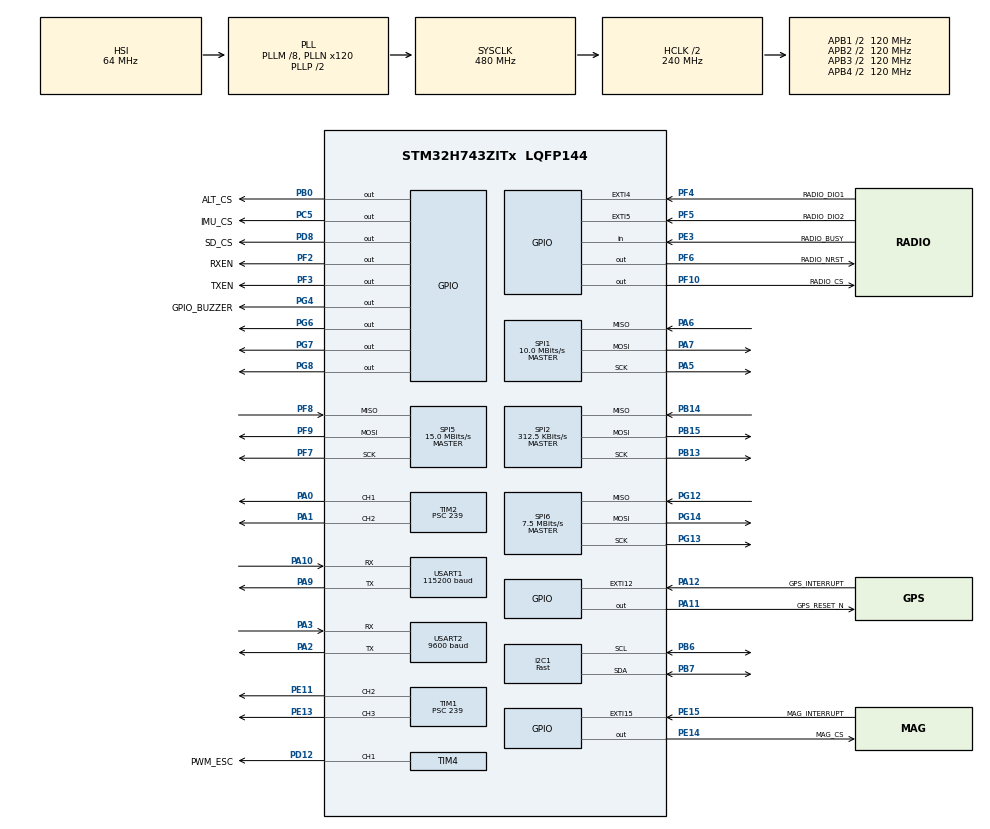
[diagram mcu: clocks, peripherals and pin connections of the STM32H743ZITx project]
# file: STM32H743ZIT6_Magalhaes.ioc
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Bdma.Request0=SPI6_TX
Bdma.Request1=SPI6_RX
Bdma.RequestsNb=2
Bdma.SPI6_RX.1.Direction=DMA_PERIPH_TO_MEMORY
Bdma.SPI6_RX.1.EventEnable=DISABLE
Bdma.SPI6_RX.1.Instance=BDMA_Channel1
Bdma.SPI6_RX.1.MemDataAlignment=DMA_MDATAALIGN_BYTE
Bdma.SPI6_RX.1.MemInc=DMA_MINC_ENABLE
Bdma.SPI6_RX.1.Mode=DMA_NORMAL
Bdma.SPI6_RX.1.PeriphDataAlignment=DMA_PDATAALIGN_BYTE
Bdma.SPI6_RX.1.PeriphInc=DMA_PINC_DISABLE
Bdma.SPI6_RX.1.Polarity=HAL_DMAMUX_REQ_GEN_RISING
Bdma.SPI6_RX.1.Priority=DMA_PRIORITY_LOW
Bdma.SPI6_RX.1.RequestNumber=1
Bdma.SPI6_RX.1.SignalID=NONE
Bdma.SPI6_RX.1.SyncEnable=DISABLE
Bdma.SPI6_RX.1.SyncPolarity=HAL_DMAMUX_SYNC_NO_EVENT
Bdma.SPI6_RX.1.SyncRequestNumber=1
Bdma.SPI6_RX.1.SyncSignalID=NONE
Bdma.SPI6_TX.0.Direction=DMA_MEMORY_TO_PERIPH
Bdma.SPI6_TX.0.EventEnable=DISABLE
Bdma.SPI6_TX.0.Instance=BDMA_Channel0
Bdma.SPI6_TX.0.MemDataAlignment=DMA_MDATAALIGN_BYTE
Bdma.SPI6_TX.0.MemInc=DMA_MINC_ENABLE
Bdma.SPI6_TX.0.Mode=DMA_NORMAL
Bdma.SPI6_TX.0.PeriphDataAlignment=DMA_PDATAALIGN_BYTE
Bdma.SPI6_TX.0.PeriphInc=DMA_PINC_DISABLE
Bdma.SPI6_TX.0.Polarity=HAL_DMAMUX_REQ_GEN_RISING
Bdma.SPI6_TX.0.Priority=DMA_PRIORITY_LOW
Bdma.SPI6_TX.0.RequestNumber=1
Bdma.SPI6_TX.0.SignalID=NONE
Bdma.SPI6_TX.0.SyncEnable=DISABLE
Bdma.SPI6_TX.0.SyncPolarity=HAL_DMAMUX_SYNC_NO_EVENT
Bdma.SPI6_TX.0.SyncRequestNumber=1
Bdma.SPI6_TX.0.SyncSignalID=NONE
CORTEX_M7.default_mode_Activation=1
Dma.I2C1_RX.10.Direction=DMA_PERIPH_TO_MEMORY
Dma.I2C1_RX.10.EventEnable=DISABLE
Dma.I2C1_RX.10.FIFOMode=DMA_FIFOMODE_DISABLE
Dma.I2C1_RX.10.Instance=DMA2_Stream0
Dma.I2C1_RX.10.MemDataAlignment=DMA_MDATAALIGN_BYTE
Dma.I2C1_RX.10.MemInc=DMA_MINC_ENABLE
Dma.I2C1_RX.10.Mode=DMA_NORMAL
Dma.I2C1_RX.10.PeriphDataAlignment=DMA_PDATAALIGN_BYTE
Dma.I2C1_RX.10.PeriphInc=DMA_PINC_DISABLE
Dma.I2C1_RX.10.Polarity=HAL_DMAMUX_REQ_GEN_RISING
Dma.I2C1_RX.10.Priority=DMA_PRIORITY_LOW
Dma.I2C1_RX.10.RequestNumber=1
Dma.I2C1_RX.10.SignalID=NONE
Dma.I2C1_RX.10.SyncEnable=DISABLE
Dma.I2C1_RX.10.SyncPolarity=HAL_DMAMUX_SYNC_NO_EVENT
Dma.I2C1_RX.10.SyncRequestNumber=1
Dma.I2C1_RX.10.SyncSignalID=NONE
Dma.I2C1_TX.11.Direction=DMA_MEMORY_TO_PERIPH
Dma.I2C1_TX.11.EventEnable=DISABLE
Dma.I2C1_TX.11.FIFOMode=DMA_FIFOMODE_DISABLE
Dma.I2C1_TX.11.Instance=DMA2_Stream1
Dma.I2C1_TX.11.MemDataAlignment=DMA_MDATAALIGN_BYTE
Dma.I2C1_TX.11.MemInc=DMA_MINC_ENABLE
Dma.I2C1_TX.11.Mode=DMA_NORMAL
Dma.I2C1_TX.11.PeriphDataAlignment=DMA_PDATAALIGN_BYTE
Dma.I2C1_TX.11.PeriphInc=DMA_PINC_DISABLE
Dma.I2C1_TX.11.Polarity=HAL_DMAMUX_REQ_GEN_RISING
Dma.I2C1_TX.11.Priority=DMA_PRIORITY_LOW
Dma.I2C1_TX.11.RequestNumber=1
Dma.I2C1_TX.11.SignalID=NONE
Dma.I2C1_TX.11.SyncEnable=DISABLE
Dma.I2C1_TX.11.SyncPolarity=HAL_DMAMUX_SYNC_NO_EVENT
Dma.I2C1_TX.11.SyncRequestNumber=1
Dma.I2C1_TX.11.SyncSignalID=NONE
Dma.Request0=SPI1_RX
Dma.Request1=SPI1_TX
Dma.Request10=I2C1_RX
Dma.Request11=I2C1_TX
Dma.Request2=SPI2_RX
Dma.Request3=SPI2_TX
Dma.Request4=USART2_RX
Dma.Request5=USART2_TX
Dma.Request6=SPI5_RX
Dma.Request7=SPI5_TX
Dma.Request8=USART1_RX
Dma.Request9=USART1_TX
Dma.SPI1_RX.0.Direction=DMA_PERIPH_TO_MEMORY
Dma.SPI1_RX.0.EventEnable=DISABLE
Dma.SPI1_RX.0.FIFOMode=DMA_FIFOMODE_DISABLE
Dma.SPI1_RX.0.Instance=DMA1_Stream0
Dma.SPI1_RX.0.MemDataAlignment=DMA_MDATAALIGN_BYTE
Dma.SPI1_RX.0.MemInc=DMA_MINC_ENABLE
Dma.SPI1_RX.0.Mode=DMA_NORMAL
Dma.SPI1_RX.0.PeriphDataAlignment=DMA_PDATAALIGN_BYTE
Dma.SPI1_RX.0.PeriphInc=DMA_PINC_DISABLE
Dma.SPI1_RX.0.Polarity=HAL_DMAMUX_REQ_GEN_RISING
Dma.SPI1_RX.0.Priority=DMA_PRIORITY_HIGH
Dma.SPI1_RX.0.RequestNumber=1
Dma.SPI1_RX.0.SignalID=NONE
Dma.SPI1_RX.0.SyncEnable=DISABLE
Dma.SPI1_RX.0.SyncPolarity=HAL_DMAMUX_SYNC_NO_EVENT
Dma.SPI1_RX.0.SyncRequestNumber=1
Dma.SPI1_RX.0.SyncSignalID=NONE
Dma.SPI1_TX.1.Direction=DMA_MEMORY_TO_PERIPH
Dma.SPI1_TX.1.EventEnable=DISABLE
Dma.SPI1_TX.1.FIFOMode=DMA_FIFOMODE_DISABLE
Dma.SPI1_TX.1.Instance=DMA1_Stream1
Dma.SPI1_TX.1.MemDataAlignment=DMA_MDATAALIGN_BYTE
Dma.SPI1_TX.1.MemInc=DMA_MINC_ENABLE
Dma.SPI1_TX.1.Mode=DMA_NORMAL
Dma.SPI1_TX.1.PeriphDataAlignment=DMA_PDATAALIGN_BYTE
Dma.SPI1_TX.1.PeriphInc=DMA_PINC_DISABLE
Dma.SPI1_TX.1.Polarity=HAL_DMAMUX_REQ_GEN_RISING
Dma.SPI1_TX.1.Priority=DMA_PRIORITY_HIGH
Dma.SPI1_TX.1.RequestNumber=1
Dma.SPI1_TX.1.SignalID=NONE
Dma.SPI1_TX.1.SyncEnable=DISABLE
Dma.SPI1_TX.1.SyncPolarity=HAL_DMAMUX_SYNC_NO_EVENT
Dma.SPI1_TX.1.SyncRequestNumber=1
Dma.SPI1_TX.1.SyncSignalID=NONE
Dma.SPI2_RX.2.Direction=DMA_PERIPH_TO_MEMORY
Dma.SPI2_RX.2.EventEnable=DISABLE
Dma.SPI2_RX.2.FIFOMode=DMA_FIFOMODE_DISABLE
Dma.SPI2_RX.2.Instance=DMA1_Stream2
Dma.SPI2_RX.2.MemDataAlignment=DMA_MDATAALIGN_BYTE
Dma.SPI2_RX.2.MemInc=DMA_MINC_ENABLE
Dma.SPI2_RX.2.Mode=DMA_NORMAL
Dma.SPI2_RX.2.PeriphDataAlignment=DMA_PDATAALIGN_BYTE
Dma.SPI2_RX.2.PeriphInc=DMA_PINC_DISABLE
Dma.SPI2_RX.2.Polarity=HAL_DMAMUX_REQ_GEN_RISING
Dma.SPI2_RX.2.Priority=DMA_PRIORITY_MEDIUM
Dma.SPI2_RX.2.RequestNumber=1
Dma.SPI2_RX.2.SignalID=NONE
Dma.SPI2_RX.2.SyncEnable=DISABLE
Dma.SPI2_RX.2.SyncPolarity=HAL_DMAMUX_SYNC_NO_EVENT
Dma.SPI2_RX.2.SyncRequestNumber=1
Dma.SPI2_RX.2.SyncSignalID=NONE
Dma.SPI2_TX.3.Direction=DMA_MEMORY_TO_PERIPH
Dma.SPI2_TX.3.EventEnable=DISABLE
Dma.SPI2_TX.3.FIFOMode=DMA_FIFOMODE_DISABLE
Dma.SPI2_TX.3.Instance=DMA1_Stream3
Dma.SPI2_TX.3.MemDataAlignment=DMA_MDATAALIGN_BYTE
Dma.SPI2_TX.3.MemInc=DMA_MINC_ENABLE
Dma.SPI2_TX.3.Mode=DMA_NORMAL
Dma.SPI2_TX.3.PeriphDataAlignment=DMA_PDATAALIGN_BYTE
Dma.SPI2_TX.3.PeriphInc=DMA_PINC_DISABLE
Dma.SPI2_TX.3.Polarity=HAL_DMAMUX_REQ_GEN_RISING
Dma.SPI2_TX.3.Priority=DMA_PRIORITY_MEDIUM
Dma.SPI2_TX.3.RequestNumber=1
Dma.SPI2_TX.3.SignalID=NONE
Dma.SPI2_TX.3.SyncEnable=DISABLE
Dma.SPI2_TX.3.SyncPolarity=HAL_DMAMUX_SYNC_NO_EVENT
Dma.SPI2_TX.3.SyncRequestNumber=1
Dma.SPI2_TX.3.SyncSignalID=NONE
Dma.SPI5_RX.6.Direction=DMA_PERIPH_TO_MEMORY
Dma.SPI5_RX.6.EventEnable=DISABLE
Dma.SPI5_RX.6.FIFOMode=DMA_FIFOMODE_DISABLE
Dma.SPI5_RX.6.Instance=DMA2_Stream2
Dma.SPI5_RX.6.MemDataAlignment=DMA_MDATAALIGN_BYTE
Dma.SPI5_RX.6.MemInc=DMA_MINC_ENABLE
Dma.SPI5_RX.6.Mode=DMA_NORMAL
Dma.SPI5_RX.6.PeriphDataAlignment=DMA_PDATAALIGN_BYTE
Dma.SPI5_RX.6.PeriphInc=DMA_PINC_DISABLE
Dma.SPI5_RX.6.Polarity=HAL_DMAMUX_REQ_GEN_RISING
Dma.SPI5_RX.6.Priority=DMA_PRIORITY_LOW
Dma.SPI5_RX.6.RequestNumber=1
Dma.SPI5_RX.6.SignalID=NONE
Dma.SPI5_RX.6.SyncEnable=DISABLE
Dma.SPI5_RX.6.SyncPolarity=HAL_DMAMUX_SYNC_NO_EVENT
Dma.SPI5_RX.6.SyncRequestNumber=1
Dma.SPI5_RX.6.SyncSignalID=NONE
Dma.SPI5_TX.7.Direction=DMA_MEMORY_TO_PERIPH
Dma.SPI5_TX.7.EventEnable=DISABLE
Dma.SPI5_TX.7.FIFOMode=DMA_FIFOMODE_DISABLE
Dma.SPI5_TX.7.Instance=DMA2_Stream3
Dma.SPI5_TX.7.MemDataAlignment=DMA_MDATAALIGN_BYTE
Dma.SPI5_TX.7.MemInc=DMA_MINC_ENABLE
Dma.SPI5_TX.7.Mode=DMA_NORMAL
Dma.SPI5_TX.7.PeriphDataAlignment=DMA_PDATAALIGN_BYTE
Dma.SPI5_TX.7.PeriphInc=DMA_PINC_DISABLE
Dma.SPI5_TX.7.Polarity=HAL_DMAMUX_REQ_GEN_RISING
Dma.SPI5_TX.7.Priority=DMA_PRIORITY_LOW
Dma.SPI5_TX.7.RequestNumber=1
Dma.SPI5_TX.7.SignalID=NONE
Dma.SPI5_TX.7.SyncEnable=DISABLE
Dma.SPI5_TX.7.SyncPolarity=HAL_DMAMUX_SYNC_NO_EVENT
Dma.SPI5_TX.7.SyncRequestNumber=1
Dma.SPI5_TX.7.SyncSignalID=NONE
Dma.USART1_RX.8.Direction=DMA_PERIPH_TO_MEMORY
Dma.USART1_RX.8.EventEnable=DISABLE
Dma.USART1_RX.8.FIFOMode=DMA_FIFOMODE_DISABLE
Dma.USART1_RX.8.Instance=DMA1_Stream4
Dma.USART1_RX.8.MemDataAlignment=DMA_MDATAALIGN_BYTE
Dma.USART1_RX.8.MemInc=DMA_MINC_ENABLE
Dma.USART1_RX.8.Mode=DMA_CIRCULAR
Dma.USART1_RX.8.PeriphDataAlignment=DMA_PDATAALIGN_BYTE
Dma.USART1_RX.8.PeriphInc=DMA_PINC_DISABLE
Dma.USART1_RX.8.Polarity=HAL_DMAMUX_REQ_GEN_RISING
Dma.USART1_RX.8.Priority=DMA_PRIORITY_LOW
Dma.USART1_RX.8.RequestNumber=1
Dma.USART1_RX.8.SignalID=NONE
Dma.USART1_RX.8.SyncEnable=DISABLE
Dma.USART1_RX.8.SyncPolarity=HAL_DMAMUX_SYNC_NO_EVENT
Dma.USART1_RX.8.SyncRequestNumber=1
Dma.USART1_RX.8.SyncSignalID=NONE
Dma.USART1_TX.9.Direction=DMA_MEMORY_TO_PERIPH
Dma.USART1_TX.9.EventEnable=DISABLE
Dma.USART1_TX.9.FIFOMode=DMA_FIFOMODE_DISABLE
Dma.USART1_TX.9.Instance=DMA1_Stream5
Dma.USART1_TX.9.MemDataAlignment=DMA_MDATAALIGN_BYTE
Dma.USART1_TX.9.MemInc=DMA_MINC_ENABLE
Dma.USART1_TX.9.Mode=DMA_NORMAL
Dma.USART1_TX.9.PeriphDataAlignment=DMA_PDATAALIGN_BYTE
Dma.USART1_TX.9.PeriphInc=DMA_PINC_DISABLE
Dma.USART1_TX.9.Polarity=HAL_DMAMUX_REQ_GEN_RISING
Dma.USART1_TX.9.Priority=DMA_PRIORITY_LOW
Dma.USART1_TX.9.RequestNumber=1
Dma.USART1_TX.9.SignalID=NONE
Dma.USART1_TX.9.SyncEnable=DISABLE
Dma.USART1_TX.9.SyncPolarity=HAL_DMAMUX_SYNC_NO_EVENT
Dma.USART1_TX.9.SyncRequestNumber=1
Dma.USART1_TX.9.SyncSignalID=NONE
Dma.USART2_RX.4.Direction=DMA_PERIPH_TO_MEMORY
Dma.USART2_RX.4.EventEnable=DISABLE
Dma.USART2_RX.4.FIFOMode=DMA_FIFOMODE_DISABLE
Dma.USART2_RX.4.Instance=DMA1_Stream6
Dma.USART2_RX.4.MemDataAlignment=DMA_MDATAALIGN_BYTE
Dma.USART2_RX.4.MemInc=DMA_MINC_ENABLE
Dma.USART2_RX.4.Mode=DMA_CIRCULAR
Dma.USART2_RX.4.PeriphDataAlignment=DMA_PDATAALIGN_BYTE
Dma.USART2_RX.4.PeriphInc=DMA_PINC_DISABLE
Dma.USART2_RX.4.Polarity=HAL_DMAMUX_REQ_GEN_RISING
Dma.USART2_RX.4.Priority=DMA_PRIORITY_MEDIUM
Dma.USART2_RX.4.RequestNumber=1
Dma.USART2_RX.4.SignalID=NONE
Dma.USART2_RX.4.SyncEnable=DISABLE
Dma.USART2_RX.4.SyncPolarity=HAL_DMAMUX_SYNC_NO_EVENT
Dma.USART2_RX.4.SyncRequestNumber=1
Dma.USART2_RX.4.SyncSignalID=NONE
Dma.USART2_TX.5.Direction=DMA_MEMORY_TO_PERIPH
Dma.USART2_TX.5.EventEnable=DISABLE
Dma.USART2_TX.5.FIFOMode=DMA_FIFOMODE_DISABLE
Dma.USART2_TX.5.Instance=DMA1_Stream7
Dma.USART2_TX.5.MemDataAlignment=DMA_MDATAALIGN_BYTE
Dma.USART2_TX.5.MemInc=DMA_MINC_ENABLE
Dma.USART2_TX.5.Mode=DMA_NORMAL
Dma.USART2_TX.5.PeriphDataAlignment=DMA_PDATAALIGN_BYTE
Dma.USART2_TX.5.PeriphInc=DMA_PINC_DISABLE
Dma.USART2_TX.5.Polarity=HAL_DMAMUX_REQ_GEN_RISING
Dma.USART2_TX.5.Priority=DMA_PRIORITY_MEDIUM
Dma.USART2_TX.5.RequestNumber=1
Dma.USART2_TX.5.SignalID=NONE
Dma.USART2_TX.5.SyncEnable=DISABLE
Dma.USART2_TX.5.SyncPolarity=HAL_DMAMUX_SYNC_NO_EVENT
Dma.USART2_TX.5.SyncRequestNumber=1
Dma.USART2_TX.5.SyncSignalID=NONE
FATFS._FS_LOCK=15
FATFS._FS_NORTC=1
FATFS._MAX_SS=4096
FATFS._USE_LFN=2
FATFS._USE_MUTEX=1
FREERTOS.Tasks01=defaultTask,24,128,StartDefaultTask,Default,NULL,Dynamic,NULL,NULL
FREERTOS.configENABLE_FPU=1
FREERTOS.configGENERATE_RUN_TIME_STATS=1
FREERTOS.configMAX_TASK_NAME_LEN=32
FREERTOS.configQUEUE_REGISTRY_SIZE=16
FREERTOS.configRECORD_STACK_HIGH_ADDRESS=1
FREERTOS.configTOTAL_HEAP_SIZE=55000
FREERTOS.configUSE_NEWLIB_REENTRANT=1
I2C1.I2C_Fall_Time=10
I2C1.I2C_Rise_Time=100
I2C1.I2C_Speed_Mode=I2C_Fast
I2C1.Timing=0x4040171D
Mcu.Family=STM32H7
Mcu.Name=STM32H743ZITx
Mcu.Package=LQFP144
NVIC.BDMA_Channel0_IRQn=true\:5\:0\:false\:false\:true\:true\:false\:true\:true
NVIC.BDMA_Channel1_IRQn=true\:5\:0\:false\:false\:true\:true\:false\:true\:true
NVIC.DMA1_Stream0_IRQn=true\:5\:0\:false\:false\:true\:true\:false\:true\:true
NVIC.DMA1_Stream1_IRQn=true\:5\:0\:false\:false\:true\:true\:false\:true\:true
NVIC.DMA1_Stream2_IRQn=true\:5\:0\:false\:false\:true\:true\:false\:true\:true
NVIC.DMA1_Stream3_IRQn=true\:5\:0\:false\:false\:true\:true\:false\:true\:true
NVIC.DMA1_Stream4_IRQn=true\:5\:0\:false\:false\:true\:true\:false\:true\:true
NVIC.DMA1_Stream5_IRQn=true\:5\:0\:false\:false\:true\:true\:false\:true\:true
NVIC.DMA1_Stream6_IRQn=true\:5\:0\:false\:false\:true\:true\:false\:true\:true
NVIC.DMA1_Stream7_IRQn=true\:5\:0\:false\:false\:true\:true\:false\:true\:true
NVIC.DMA2_Stream0_IRQn=true\:5\:0\:false\:false\:true\:true\:false\:true\:true
NVIC.DMA2_Stream1_IRQn=true\:5\:0\:false\:false\:true\:true\:false\:true\:true
NVIC.DMA2_Stream2_IRQn=true\:5\:0\:false\:false\:true\:true\:false\:true\:true
NVIC.DMA2_Stream3_IRQn=true\:5\:0\:false\:false\:true\:true\:false\:true\:true
NVIC.EXTI15_10_IRQn=true\:5\:0\:false\:false\:true\:true\:true\:true\:true
NVIC.EXTI4_IRQn=true\:5\:0\:false\:false\:true\:true\:true\:true\:true
NVIC.EXTI9_5_IRQn=true\:5\:0\:false\:false\:true\:true\:true\:true\:true
NVIC.I2C1_ER_IRQn=true\:5\:0\:false\:false\:true\:true\:true\:true\:true
NVIC.I2C1_EV_IRQn=true\:5\:0\:false\:false\:true\:true\:true\:true\:true
NVIC.PriorityGroup=NVIC_PRIORITYGROUP_4
NVIC.SPI1_IRQn=true\:5\:0\:false\:false\:true\:true\:false\:true\:true
NVIC.SPI2_IRQn=true\:5\:0\:false\:false\:true\:true\:false\:true\:true
NVIC.SPI5_IRQn=true\:5\:0\:false\:false\:true\:true\:false\:true\:true
NVIC.SPI6_IRQn=true\:5\:0\:false\:false\:true\:true\:true\:true\:true
NVIC.TIM5_IRQn=true\:15\:0\:false\:false\:true\:false\:false\:true\:true
NVIC.TimeBase=TIM5_IRQn
NVIC.TimeBaseIP=TIM5
NVIC.USART1_IRQn=true\:5\:0\:false\:false\:true\:true\:true\:true\:true
NVIC.USART2_IRQn=true\:5\:0\:false\:false\:true\:true\:true\:true\:true
PA0.Signal=S_TIM2_CH1_ETR
PA1.Signal=S_TIM2_CH2
PA10.Mode=Asynchronous
PA10.Signal=USART1_RX
PA11.GPIO_Label=GPS_RESET_N
PA11.PinState=GPIO_PIN_SET
PA11.Signal=GPIO_Output
PA12.GPIO_Label=GPS_INTERRUPT
PA12.GPIO_ModeDefaultEXTI=GPIO_MODE_IT_RISING
PA12.Signal=GPXTI12
PA13\ (JTMS/SWDIO).Mode=Serial_Wire
PA13\ (JTMS/SWDIO).Signal=DEBUG_JTMS-SWDIO
PA14\ (JTCK/SWCLK).Mode=Serial_Wire
PA14\ (JTCK/SWCLK).Signal=DEBUG_JTCK-SWCLK
PA2.Mode=Asynchronous
PA2.Signal=USART2_TX
PA3.Mode=Asynchronous
PA3.Signal=USART2_RX
PA5.Mode=Full_Duplex_Master
PA5.Signal=SPI1_SCK
PA6.Mode=Full_Duplex_Master
PA6.Signal=SPI1_MISO
PA7.Mode=Full_Duplex_Master
PA7.Signal=SPI1_MOSI
PA9.Mode=Asynchronous
PA9.Signal=USART1_TX
PB0.GPIO_Label=ALT_CS
PB0.PinState=GPIO_PIN_SET
PB0.Signal=GPIO_Output
PB13.GPIO_PuPd=GPIO_PULLUP
PB13.Mode=Full_Duplex_Master
PB13.Signal=SPI2_SCK
PB14.GPIO_PuPd=GPIO_PULLUP
PB14.Mode=Full_Duplex_Master
PB14.Signal=SPI2_MISO
PB15.GPIO_PuPd=GPIO_PULLUP
PB15.Mode=Full_Duplex_Master
PB15.Signal=SPI2_MOSI
PB6.Mode=I2C
PB6.Signal=I2C1_SCL
PB7.Mode=I2C
PB7.Signal=I2C1_SDA
PC5.GPIO_Label=IMU_CS
PC5.PinState=GPIO_PIN_SET
PC5.Signal=GPIO_Output
PD12.GPIO_Label=PWM_ESC
PD12.Signal=S_TIM4_CH1
PD8.GPIO_Label=SD_CS
PD8.PinState=GPIO_PIN_SET
PD8.Signal=GPIO_Output
PE11.Signal=S_TIM1_CH2
PE13.Signal=S_TIM1_CH3
PE14.GPIO_Label=MAG_CS
PE14.PinState=GPIO_PIN_SET
PE14.Signal=GPIO_Output
PE15.GPIO_Label=MAG_INTERRUPT
PE15.Signal=GPXTI15
PE3.GPIO_Label=RADIO_BUSY
PE3.GPIO_PuPd=GPIO_PULLDOWN
PE3.Signal=GPIO_Input
PF10.GPIO_Label=RADIO_CS
PF10.PinState=GPIO_PIN_SET
PF10.Signal=GPIO_Output
PF2.GPIO_Label=RXEN
PF2.Signal=GPIO_Output
PF3.GPIO_Label=TXEN
PF3.Signal=GPIO_Output
PF4.GPIO_Label=RADIO_DIO1
PF4.GPIO_ModeDefaultEXTI=GPIO_MODE_IT_RISING
PF4.Signal=GPXTI4
PF5.GPIO_Label=RADIO_DIO2
PF5.Signal=GPXTI5
PF6.GPIO_Label=RADIO_NRST
PF6.PinState=GPIO_PIN_SET
PF6.Signal=GPIO_Output
PF7.Mode=Full_Duplex_Master
PF7.Signal=SPI5_SCK
PF8.Mode=Full_Duplex_Master
PF8.Signal=SPI5_MISO
PF9.Mode=Full_Duplex_Master
PF9.Signal=SPI5_MOSI
PG12.Mode=Full_Duplex_Master
PG12.Signal=SPI6_MISO
PG13.Mode=Full_Duplex_Master
PG13.Signal=SPI6_SCK
PG14.Mode=Full_Duplex_Master
PG14.Signal=SPI6_MOSI
PG4.GPIO_Label=GPIO_BUZZER
PG4.Signal=GPIO_Output
PG6.Signal=GPIO_Output
PG7.Signal=GPIO_Output
PG8.Signal=GPIO_Output
ProjectManager.HeapSize=0x200
ProjectManager.StackSize=0x400
ProjectManager.TargetToolchain=STM32CubeIDE
RCC.ADCFreq_Value=129000000
RCC.APB1Freq_Value=120000000
RCC.APB2Freq_Value=120000000
RCC.APB3Freq_Value=120000000
RCC.APB4Freq_Value=120000000
RCC.CortexFreq_Value=480000000
RCC.D1PPRE=RCC_APB3_DIV2
RCC.D2PPRE1=RCC_APB1_DIV2
RCC.D2PPRE2=RCC_APB2_DIV2
RCC.D3PPRE=RCC_APB4_DIV2
RCC.DIVM1=8
RCC.DIVN1=120
RCC.DIVQ1=12
RCC.HCLKFreq_Value=240000000
RCC.HPRE=RCC_HCLK_DIV2
RCC.PLLFRACN=0
RCC.PWR_Regulator_Voltage_Scale=PWR_REGULATOR_VOLTAGE_SCALE0
RCC.SYSCLKFreq_VALUE=480000000
RCC.SYSCLKSource=RCC_SYSCLKSOURCE_PLLCLK
RCC.USBFreq_Value=80000000
SH.S_TIM1_CH2.0=TIM1_CH2,PWM Generation2 CH2
SH.S_TIM1_CH3.0=TIM1_CH3,PWM Generation3 CH3
SH.S_TIM2_CH1_ETR.0=TIM2_CH1,PWM Generation1 CH1
SH.S_TIM2_CH2.0=TIM2_CH2,PWM Generation2 CH2
SH.S_TIM4_CH1.0=TIM4_CH1,PWM Generation1 CH1
SPI1.BaudRatePrescaler=SPI_BAUDRATEPRESCALER_8
SPI1.CLKPhase=SPI_PHASE_2EDGE
SPI1.CLKPolarity=SPI_POLARITY_HIGH
SPI1.CalculateBaudRate=10.0 MBits/s
SPI1.DataSize=SPI_DATASIZE_8BIT
SPI1.Direction=SPI_DIRECTION_2LINES
SPI1.Mode=SPI_MODE_MASTER
SPI1.VirtualType=VM_MASTER
SPI2.BaudRatePrescaler=SPI_BAUDRATEPRESCALER_256
SPI2.CLKPhase=SPI_PHASE_1EDGE
SPI2.CLKPolarity=SPI_POLARITY_LOW
SPI2.CalculateBaudRate=312.5 KBits/s
SPI2.DataSize=SPI_DATASIZE_8BIT
SPI2.Direction=SPI_DIRECTION_2LINES
SPI2.Mode=SPI_MODE_MASTER
SPI2.VirtualType=VM_MASTER
SPI5.BaudRatePrescaler=SPI_BAUDRATEPRESCALER_8
SPI5.CLKPhase=SPI_PHASE_1EDGE
SPI5.CLKPolarity=SPI_POLARITY_LOW
SPI5.CalculateBaudRate=15.0 MBits/s
SPI5.DataSize=SPI_DATASIZE_8BIT
SPI5.Direction=SPI_DIRECTION_2LINES
SPI5.Mode=SPI_MODE_MASTER
SPI5.VirtualType=VM_MASTER
SPI6.BaudRatePrescaler=SPI_BAUDRATEPRESCALER_16
SPI6.CLKPhase=SPI_PHASE_2EDGE
SPI6.CLKPolarity=SPI_POLARITY_HIGH
SPI6.CalculateBaudRate=7.5 MBits/s
SPI6.DataSize=SPI_DATASIZE_8BIT
SPI6.Direction=SPI_DIRECTION_2LINES
SPI6.Mode=SPI_MODE_MASTER
SPI6.VirtualType=VM_MASTER
TIM1.Channel-PWM\ Generation2\ CH2=TIM_CHANNEL_2
TIM1.Channel-PWM\ Generation3\ CH3=TIM_CHANNEL_3
TIM1.Period=19999
TIM1.Prescaler=239
TIM1.Pulse-PWM\ Generation2\ CH2=1500
TIM1.Pulse-PWM\ Generation3\ CH3=1500
TIM2.Channel-PWM\ Generation1\ CH1=TIM_CHANNEL_1
TIM2.Channel-PWM\ Generation2\ CH2=TIM_CHANNEL_2
TIM2.Period=19999
TIM2.Prescaler=239
TIM2.Pulse-PWM\ Generation1\ CH1=1500
TIM2.Pulse-PWM\ Generation2\ CH2=1500
TIM4.Channel-PWM\ Generation1\ CH1=TIM_CHANNEL_1
TIM4.Period=19999
TIM4.Prescaler=239
TIM4.Pulse-PWM\ Generation1\ CH1=1100
USART1.BaudRate=115200
USART1.VirtualMode-Asynchronous=VM_ASYNC
USART2.BaudRate=9600
USART2.VirtualMode-Asynchronous=VM_ASYNC
VP_FATFS_VS_Generic.Mode=User_defined
VP_FREERTOS_VS_CMSIS_V2.Mode=CMSIS_V2
VP_MEMORYMAP_VS_MEMORYMAP.Mode=CurAppReg
VP_SYS_VS_tim5.Mode=TIM5
VP_TIM1_VS_ClockSourceINT.Mode=Internal
VP_TIM2_VS_ClockSourceINT.Mode=Internal
VP_TIM4_VS_ClockSourceINT.Mode=Internal
board=custom

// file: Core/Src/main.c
/* USER CODE BEGIN Header */
/**
  ******************************************************************************
  * @file           : main.c
  * @brief          : Main program body
  ******************************************************************************
  * @attention
  *
  * Copyright (c) 2026 STMicroelectronics.
  * All rights reserved.
  *
  * This software is licensed under terms that can be found in the LICENSE file
  * in the root directory of this software component.
  * If no LICENSE file comes with this software, it is provided AS-IS.
  *
  ******************************************************************************
  */
/* USER CODE END Header */
#include "main.h"
#include "cmsis_os.h"
#include "fatfs.h"

/* USER CODE BEGIN Includes */
#include "Flight Computer/flight_computer.h"
#include "Threads/create_threads.h"
#include "retarget.h"
#include "Data Handler/flash_data_handler.h"
/* USER CODE END Includes */

I2C_HandleTypeDef hi2c1;
DMA_HandleTypeDef hdma_i2c1_rx;
DMA_HandleTypeDef hdma_i2c1_tx;

SPI_HandleTypeDef hspi1;
SPI_HandleTypeDef hspi2;
SPI_HandleTypeDef hspi5;
SPI_HandleTypeDef hspi6;
DMA_HandleTypeDef hdma_spi1_rx;
DMA_HandleTypeDef hdma_spi1_tx;
DMA_HandleTypeDef hdma_spi2_rx;
DMA_HandleTypeDef hdma_spi2_tx;
DMA_HandleTypeDef hdma_spi5_rx;
DMA_HandleTypeDef hdma_spi5_tx;
DMA_HandleTypeDef hdma_spi6_tx;
DMA_HandleTypeDef hdma_spi6_rx;

TIM_HandleTypeDef htim1;
TIM_HandleTypeDef htim2;
TIM_HandleTypeDef htim4;

UART_HandleTypeDef huart1;
UART_HandleTypeDef huart2;
DMA_HandleTypeDef hdma_usart1_rx;
DMA_HandleTypeDef hdma_usart1_tx;
DMA_HandleTypeDef hdma_usart2_rx;
DMA_HandleTypeDef hdma_usart2_tx;

/* Definitions for defaultTask */
osThreadId_t defaultTaskHandle;
const osThreadAttr_t defaultTask_attributes = {
  .name = "defaultTask",
  .stack_size = 128 * 4,
  .priority = (osPriority_t) osPriorityNormal,
};

void SystemClock_Config(void);
static void MPU_Config(void);
static void MX_GPIO_Init(void);
static void MX_DMA_Init(void);
static void MX_BDMA_Init(void);
static void MX_I2C1_Init(void);
static void MX_SPI1_Init(void);
static void MX_SPI2_Init(void);
static void MX_USART1_UART_Init(void);
static void MX_USART2_UART_Init(void);
static void MX_TIM1_Init(void);
static void MX_TIM2_Init(void);
static void MX_SPI5_Init(void);
static void MX_SPI6_Init(void);
static void MX_TIM4_Init(void);
void StartDefaultTask(void *argument);

int main(void)
{

  /* MPU Configuration--------------------------------------------------------*/
  MPU_Config();

  /* MCU Configuration--------------------------------------------------------*/

  /* Reset of all peripherals, Initializes the Flash interface and the Systick. */
  HAL_Init();

  /* Configure the system clock */
  SystemClock_Config();

  /* Initialize all configured peripherals */
  MX_GPIO_Init();
  MX_DMA_Init();
  MX_BDMA_Init();
  MX_FATFS_Init();
  MX_I2C1_Init();
  MX_SPI1_Init();
  MX_SPI2_Init();
  MX_USART1_UART_Init();
  MX_USART2_UART_Init();
  MX_TIM1_Init();
  MX_TIM2_Init();
  MX_SPI5_Init();
  MX_SPI6_Init();
  MX_TIM4_Init();
  /* USER CODE BEGIN 2 */

  /* Solder/connection sanity test for D1/D2/D3 LEDs on PG6/PG7/PG8.
   * Sequence: D1, D2, D3 individually (300 ms each), then all three
   * blink together 3× at 5 Hz. Total ~2.7 s of startup blink. */
  for (int i = 0; i < 3; i++) {
    HAL_GPIO_WritePin(GPIOG, GPIO_PIN_6, GPIO_PIN_SET);
    HAL_Delay(300);
    HAL_GPIO_WritePin(GPIOG, GPIO_PIN_6, GPIO_PIN_RESET);
    HAL_GPIO_WritePin(GPIOG, GPIO_PIN_7, GPIO_PIN_SET);
    HAL_Delay(300);
    HAL_GPIO_WritePin(GPIOG, GPIO_PIN_7, GPIO_PIN_RESET);
    HAL_GPIO_WritePin(GPIOG, GPIO_PIN_8, GPIO_PIN_SET);
    HAL_Delay(300);
    HAL_GPIO_WritePin(GPIOG, GPIO_PIN_8, GPIO_PIN_RESET);
  }
  for (int i = 0; i < 3; i++) {
    HAL_GPIO_WritePin(GPIOG, GPIO_PIN_6|GPIO_PIN_7|GPIO_PIN_8, GPIO_PIN_SET);
    HAL_Delay(100);
    HAL_GPIO_WritePin(GPIOG, GPIO_PIN_6|GPIO_PIN_7|GPIO_PIN_8, GPIO_PIN_RESET);
    HAL_Delay(100);
  }

  /* USER CODE END 2 */

  /* Init scheduler */
  osKernelInitialize();

  /* Create the thread(s) */
  /* creation of defaultTask */
  defaultTaskHandle = osThreadNew(StartDefaultTask, NULL, &defaultTask_attributes);

  /* USER CODE BEGIN RTOS_THREADS */
  /* add threads, ... */
  RetargetInit(UART_DEBUG);
  /* USER CODE END RTOS_THREADS */

  /* Start scheduler */
  osKernelStart();

  /* We should never get here as control is now taken by the scheduler */

  /* Infinite loop */
  while (1)
  {

  }
}

void SystemClock_Config(void)
{
  RCC_OscInitTypeDef RCC_OscInitStruct = {0};
  RCC_ClkInitTypeDef RCC_ClkInitStruct = {0};

  /** Supply configuration update enable
  */
  HAL_PWREx_ConfigSupply(PWR_LDO_SUPPLY);

  /** Configure the main internal regulator output voltage
  */
  __HAL_PWR_VOLTAGESCALING_CONFIG(PWR_REGULATOR_VOLTAGE_SCALE0);

  while(!__HAL_PWR_GET_FLAG(PWR_FLAG_VOSRDY)) {}

  /** Initializes the RCC Oscillators according to the specified parameters
  * in the RCC_OscInitTypeDef structure.
  */
  RCC_OscInitStruct.OscillatorType = RCC_OSCILLATORTYPE_HSI;
  RCC_OscInitStruct.HSIState = RCC_HSI_DIV1;
  RCC_OscInitStruct.HSICalibrationValue = RCC_HSICALIBRATION_DEFAULT;
  RCC_OscInitStruct.PLL.PLLState = RCC_PLL_ON;
  RCC_OscInitStruct.PLL.PLLSource = RCC_PLLSOURCE_HSI;
  RCC_OscInitStruct.PLL.PLLM = 8;
  RCC_OscInitStruct.PLL.PLLN = 120;
  RCC_OscInitStruct.PLL.PLLP = 2;
  RCC_OscInitStruct.PLL.PLLQ = 12;
  RCC_OscInitStruct.PLL.PLLR = 2;
  RCC_OscInitStruct.PLL.PLLRGE = RCC_PLL1VCIRANGE_3;
  RCC_OscInitStruct.PLL.PLLVCOSEL = RCC_PLL1VCOWIDE;
  RCC_OscInitStruct.PLL.PLLFRACN = 0;
  if (HAL_RCC_OscConfig(&RCC_OscInitStruct) != HAL_OK)
  {
    Error_Handler();
  }

  /** Initializes the CPU, AHB and APB buses clocks
  */
  RCC_ClkInitStruct.ClockType = RCC_CLOCKTYPE_HCLK|RCC_CLOCKTYPE_SYSCLK
                              |RCC_CLOCKTYPE_PCLK1|RCC_CLOCKTYPE_PCLK2
                              |RCC_CLOCKTYPE_D3PCLK1|RCC_CLOCKTYPE_D1PCLK1;
  RCC_ClkInitStruct.SYSCLKSource = RCC_SYSCLKSOURCE_PLLCLK;
  RCC_ClkInitStruct.SYSCLKDivider = RCC_SYSCLK_DIV1;
  RCC_ClkInitStruct.AHBCLKDivider = RCC_HCLK_DIV2;
  RCC_ClkInitStruct.APB3CLKDivider = RCC_APB3_DIV2;
  RCC_ClkInitStruct.APB1CLKDivider = RCC_APB1_DIV2;
  RCC_ClkInitStruct.APB2CLKDivider = RCC_APB2_DIV2;
  RCC_ClkInitStruct.APB4CLKDivider = RCC_APB4_DIV2;

  if (HAL_RCC_ClockConfig(&RCC_ClkInitStruct, FLASH_LATENCY_4) != HAL_OK)
  {
    Error_Handler();
  }
}

static void MX_I2C1_Init(void)
{

  hi2c1.Instance = I2C1;
  hi2c1.Init.Timing = 0x4040171D;
  hi2c1.Init.OwnAddress1 = 0;
  hi2c1.Init.AddressingMode = I2C_ADDRESSINGMODE_7BIT;
  hi2c1.Init.DualAddressMode = I2C_DUALADDRESS_DISABLE;
  hi2c1.Init.OwnAddress2 = 0;
  hi2c1.Init.OwnAddress2Masks = I2C_OA2_NOMASK;
  hi2c1.Init.GeneralCallMode = I2C_GENERALCALL_DISABLE;
  hi2c1.Init.NoStretchMode = I2C_NOSTRETCH_DISABLE;
  if (HAL_I2C_Init(&hi2c1) != HAL_OK)
  {
    Error_Handler();
  }

  /** Configure Analogue filter
  */
  if (HAL_I2CEx_ConfigAnalogFilter(&hi2c1, I2C_ANALOGFILTER_ENABLE) != HAL_OK)
  {
    Error_Handler();
  }

  /** Configure Digital filter
  */
  if (HAL_I2CEx_ConfigDigitalFilter(&hi2c1, 0) != HAL_OK)
  {
    Error_Handler();
  }

}

static void MX_SPI1_Init(void)
{

  /* SPI1 parameter configuration*/
  hspi1.Instance = SPI1;
  hspi1.Init.Mode = SPI_MODE_MASTER;
  hspi1.Init.Direction = SPI_DIRECTION_2LINES;
  hspi1.Init.DataSize = SPI_DATASIZE_8BIT;
  hspi1.Init.CLKPolarity = SPI_POLARITY_HIGH;
  hspi1.Init.CLKPhase = SPI_PHASE_2EDGE;
  hspi1.Init.NSS = SPI_NSS_SOFT;
  hspi1.Init.BaudRatePrescaler = SPI_BAUDRATEPRESCALER_8;
  hspi1.Init.FirstBit = SPI_FIRSTBIT_MSB;
  hspi1.Init.TIMode = SPI_TIMODE_DISABLE;
  hspi1.Init.CRCCalculation = SPI_CRCCALCULATION_DISABLE;
  hspi1.Init.CRCPolynomial = 0x0;
  hspi1.Init.NSSPMode = SPI_NSS_PULSE_ENABLE;
  hspi1.Init.NSSPolarity = SPI_NSS_POLARITY_LOW;
  hspi1.Init.FifoThreshold = SPI_FIFO_THRESHOLD_01DATA;
  hspi1.Init.TxCRCInitializationPattern = SPI_CRC_INITIALIZATION_ALL_ZERO_PATTERN;
  hspi1.Init.RxCRCInitializationPattern = SPI_CRC_INITIALIZATION_ALL_ZERO_PATTERN;
  hspi1.Init.MasterSSIdleness = SPI_MASTER_SS_IDLENESS_00CYCLE;
  hspi1.Init.MasterInterDataIdleness = SPI_MASTER_INTERDATA_IDLENESS_00CYCLE;
  hspi1.Init.MasterReceiverAutoSusp = SPI_MASTER_RX_AUTOSUSP_DISABLE;
  hspi1.Init.MasterKeepIOState = SPI_MASTER_KEEP_IO_STATE_DISABLE;
  hspi1.Init.IOSwap = SPI_IO_SWAP_DISABLE;
  if (HAL_SPI_Init(&hspi1) != HAL_OK)
  {
    Error_Handler();
  }

}

static void MX_SPI2_Init(void)
{

  /* SPI2 parameter configuration*/
  hspi2.Instance = SPI2;
  hspi2.Init.Mode = SPI_MODE_MASTER;
  hspi2.Init.Direction = SPI_DIRECTION_2LINES;
  hspi2.Init.DataSize = SPI_DATASIZE_8BIT;
  hspi2.Init.CLKPolarity = SPI_POLARITY_LOW;
  hspi2.Init.CLKPhase = SPI_PHASE_1EDGE;
  hspi2.Init.NSS = SPI_NSS_SOFT;
  hspi2.Init.BaudRatePrescaler = SPI_BAUDRATEPRESCALER_256;
  hspi2.Init.FirstBit = SPI_FIRSTBIT_MSB;
  hspi2.Init.TIMode = SPI_TIMODE_DISABLE;
  hspi2.Init.CRCCalculation = SPI_CRCCALCULATION_DISABLE;
  hspi2.Init.CRCPolynomial = 0x0;
  hspi2.Init.NSSPMode = SPI_NSS_PULSE_ENABLE;
  hspi2.Init.NSSPolarity = SPI_NSS_POLARITY_LOW;
  hspi2.Init.FifoThreshold = SPI_FIFO_THRESHOLD_01DATA;
  hspi2.Init.TxCRCInitializationPattern = SPI_CRC_INITIALIZATION_ALL_ZERO_PATTERN;
  hspi2.Init.RxCRCInitializationPattern = SPI_CRC_INITIALIZATION_ALL_ZERO_PATTERN;
  hspi2.Init.MasterSSIdleness = SPI_MASTER_SS_IDLENESS_00CYCLE;
  hspi2.Init.MasterInterDataIdleness = SPI_MASTER_INTERDATA_IDLENESS_00CYCLE;
  hspi2.Init.MasterReceiverAutoSusp = SPI_MASTER_RX_AUTOSUSP_DISABLE;
  hspi2.Init.MasterKeepIOState = SPI_MASTER_KEEP_IO_STATE_DISABLE;
  hspi2.Init.IOSwap = SPI_IO_SWAP_DISABLE;
  if (HAL_SPI_Init(&hspi2) != HAL_OK)
  {
    Error_Handler();
  }

}

static void MX_SPI5_Init(void)
{

  /* SPI5 parameter configuration*/
  hspi5.Instance = SPI5;
  hspi5.Init.Mode = SPI_MODE_MASTER;
  hspi5.Init.Direction = SPI_DIRECTION_2LINES;
  hspi5.Init.DataSize = SPI_DATASIZE_8BIT;
  hspi5.Init.CLKPolarity = SPI_POLARITY_LOW;
  hspi5.Init.CLKPhase = SPI_PHASE_1EDGE;
  hspi5.Init.NSS = SPI_NSS_SOFT;
  hspi5.Init.BaudRatePrescaler = SPI_BAUDRATEPRESCALER_8;
  hspi5.Init.FirstBit = SPI_FIRSTBIT_MSB;
  hspi5.Init.TIMode = SPI_TIMODE_DISABLE;
  hspi5.Init.CRCCalculation = SPI_CRCCALCULATION_DISABLE;
  hspi5.Init.CRCPolynomial = 0x0;
  hspi5.Init.NSSPMode = SPI_NSS_PULSE_ENABLE;
  hspi5.Init.NSSPolarity = SPI_NSS_POLARITY_LOW;
  hspi5.Init.FifoThreshold = SPI_FIFO_THRESHOLD_01DATA;
  hspi5.Init.TxCRCInitializationPattern = SPI_CRC_INITIALIZATION_ALL_ZERO_PATTERN;
  hspi5.Init.RxCRCInitializationPattern = SPI_CRC_INITIALIZATION_ALL_ZERO_PATTERN;
  hspi5.Init.MasterSSIdleness = SPI_MASTER_SS_IDLENESS_00CYCLE;
  hspi5.Init.MasterInterDataIdleness = SPI_MASTER_INTERDATA_IDLENESS_00CYCLE;
  hspi5.Init.MasterReceiverAutoSusp = SPI_MASTER_RX_AUTOSUSP_DISABLE;
  hspi5.Init.MasterKeepIOState = SPI_MASTER_KEEP_IO_STATE_DISABLE;
  hspi5.Init.IOSwap = SPI_IO_SWAP_DISABLE;
  if (HAL_SPI_Init(&hspi5) != HAL_OK)
  {
    Error_Handler();
  }

}

static void MX_SPI6_Init(void)
{

  /* SPI6 parameter configuration*/
  hspi6.Instance = SPI6;
  hspi6.Init.Mode = SPI_MODE_MASTER;
  hspi6.Init.Direction = SPI_DIRECTION_2LINES;
  hspi6.Init.DataSize = SPI_DATASIZE_8BIT;
  hspi6.Init.CLKPolarity = SPI_POLARITY_HIGH;
  hspi6.Init.CLKPhase = SPI_PHASE_2EDGE;
  hspi6.Init.NSS = SPI_NSS_SOFT;
  hspi6.Init.BaudRatePrescaler = SPI_BAUDRATEPRESCALER_16;
  hspi6.Init.FirstBit = SPI_FIRSTBIT_MSB;
  hspi6.Init.TIMode = SPI_TIMODE_DISABLE;
  hspi6.Init.CRCCalculation = SPI_CRCCALCULATION_DISABLE;
  hspi6.Init.CRCPolynomial = 0x0;
  hspi6.Init.NSSPMode = SPI_NSS_PULSE_ENABLE;
  hspi6.Init.NSSPolarity = SPI_NSS_POLARITY_LOW;
  hspi6.Init.FifoThreshold = SPI_FIFO_THRESHOLD_01DATA;
  hspi6.Init.TxCRCInitializationPattern = SPI_CRC_INITIALIZATION_ALL_ZERO_PATTERN;
  hspi6.Init.RxCRCInitializationPattern = SPI_CRC_INITIALIZATION_ALL_ZERO_PATTERN;
  hspi6.Init.MasterSSIdleness = SPI_MASTER_SS_IDLENESS_00CYCLE;
  hspi6.Init.MasterInterDataIdleness = SPI_MASTER_INTERDATA_IDLENESS_00CYCLE;
  hspi6.Init.MasterReceiverAutoSusp = SPI_MASTER_RX_AUTOSUSP_DISABLE;
  hspi6.Init.MasterKeepIOState = SPI_MASTER_KEEP_IO_STATE_DISABLE;
  hspi6.Init.IOSwap = SPI_IO_SWAP_DISABLE;
  if (HAL_SPI_Init(&hspi6) != HAL_OK)
  {
    Error_Handler();
  }

}

static void MX_TIM1_Init(void)
{

  TIM_ClockConfigTypeDef sClockSourceConfig = {0};
  TIM_MasterConfigTypeDef sMasterConfig = {0};
  TIM_OC_InitTypeDef sConfigOC = {0};
  TIM_BreakDeadTimeConfigTypeDef sBreakDeadTimeConfig = {0};

  htim1.Instance = TIM1;
  htim1.Init.Prescaler = 239;
  htim1.Init.CounterMode = TIM_COUNTERMODE_UP;
  htim1.Init.Period = 19999;
  htim1.Init.ClockDivision = TIM_CLOCKDIVISION_DIV1;
  htim1.Init.RepetitionCounter = 0;
  htim1.Init.AutoReloadPreload = TIM_AUTORELOAD_PRELOAD_DISABLE;
  if (HAL_TIM_Base_Init(&htim1) != HAL_OK)
  {
    Error_Handler();
  }
  sClockSourceConfig.ClockSource = TIM_CLOCKSOURCE_INTERNAL;
  if (HAL_TIM_ConfigClockSource(&htim1, &sClockSourceConfig) != HAL_OK)
  {
    Error_Handler();
  }
  if (HAL_TIM_PWM_Init(&htim1) != HAL_OK)
  {
    Error_Handler();
  }
  sMasterConfig.MasterOutputTrigger = TIM_TRGO_RESET;
  sMasterConfig.MasterOutputTrigger2 = TIM_TRGO2_RESET;
  sMasterConfig.MasterSlaveMode = TIM_MASTERSLAVEMODE_DISABLE;
  if (HAL_TIMEx_MasterConfigSynchronization(&htim1, &sMasterConfig) != HAL_OK)
  {
    Error_Handler();
  }
  sConfigOC.OCMode = TIM_OCMODE_PWM1;
  sConfigOC.Pulse = 1500;
  sConfigOC.OCPolarity = TIM_OCPOLARITY_HIGH;
  sConfigOC.OCNPolarity = TIM_OCNPOLARITY_HIGH;
  sConfigOC.OCFastMode = TIM_OCFAST_DISABLE;
  sConfigOC.OCIdleState = TIM_OCIDLESTATE_RESET;
  sConfigOC.OCNIdleState = TIM_OCNIDLESTATE_RESET;
  if (HAL_TIM_PWM_ConfigChannel(&htim1, &sConfigOC, TIM_CHANNEL_2) != HAL_OK)
  {
    Error_Handler();
  }
  if (HAL_TIM_PWM_ConfigChannel(&htim1, &sConfigOC, TIM_CHANNEL_3) != HAL_OK)
  {
    Error_Handler();
  }
  sBreakDeadTimeConfig.OffStateRunMode = TIM_OSSR_DISABLE;
  sBreakDeadTimeConfig.OffStateIDLEMode = TIM_OSSI_DISABLE;
  sBreakDeadTimeConfig.LockLevel = TIM_LOCKLEVEL_OFF;
  sBreakDeadTimeConfig.DeadTime = 0;
  sBreakDeadTimeConfig.BreakState = TIM_BREAK_DISABLE;
  sBreakDeadTimeConfig.BreakPolarity = TIM_BREAKPOLARITY_HIGH;
  sBreakDeadTimeConfig.BreakFilter = 0;
  sBreakDeadTimeConfig.Break2State = TIM_BREAK2_DISABLE;
  sBreakDeadTimeConfig.Break2Polarity = TIM_BREAK2POLARITY_HIGH;
  sBreakDeadTimeConfig.Break2Filter = 0;
  sBreakDeadTimeConfig.AutomaticOutput = TIM_AUTOMATICOUTPUT_DISABLE;
  if (HAL_TIMEx_ConfigBreakDeadTime(&htim1, &sBreakDeadTimeConfig) != HAL_OK)
  {
    Error_Handler();
  }
  HAL_TIM_MspPostInit(&htim1);

}

static void MX_TIM2_Init(void)
{

  TIM_ClockConfigTypeDef sClockSourceConfig = {0};
  TIM_MasterConfigTypeDef sMasterConfig = {0};
  TIM_OC_InitTypeDef sConfigOC = {0};

  htim2.Instance = TIM2;
  htim2.Init.Prescaler = 239;
  htim2.Init.CounterMode = TIM_COUNTERMODE_UP;
  htim2.Init.Period = 19999;
  htim2.Init.ClockDivision = TIM_CLOCKDIVISION_DIV1;
  htim2.Init.AutoReloadPreload = TIM_AUTORELOAD_PRELOAD_DISABLE;
  if (HAL_TIM_Base_Init(&htim2) != HAL_OK)
  {
    Error_Handler();
  }
  sClockSourceConfig.ClockSource = TIM_CLOCKSOURCE_INTERNAL;
  if (HAL_TIM_ConfigClockSource(&htim2, &sClockSourceConfig) != HAL_OK)
  {
    Error_Handler();
  }
  if (HAL_TIM_PWM_Init(&htim2) != HAL_OK)
  {
    Error_Handler();
  }
  sMasterConfig.MasterOutputTrigger = TIM_TRGO_RESET;
  sMasterConfig.MasterSlaveMode = TIM_MASTERSLAVEMODE_DISABLE;
  if (HAL_TIMEx_MasterConfigSynchronization(&htim2, &sMasterConfig) != HAL_OK)
  {
    Error_Handler();
  }
  sConfigOC.OCMode = TIM_OCMODE_PWM1;
  sConfigOC.Pulse = 1500;
  sConfigOC.OCPolarity = TIM_OCPOLARITY_HIGH;
  sConfigOC.OCFastMode = TIM_OCFAST_DISABLE;
  if (HAL_TIM_PWM_ConfigChannel(&htim2, &sConfigOC, TIM_CHANNEL_1) != HAL_OK)
  {
    Error_Handler();
  }
  if (HAL_TIM_PWM_ConfigChannel(&htim2, &sConfigOC, TIM_CHANNEL_2) != HAL_OK)
  {
    Error_Handler();
  }
  HAL_TIM_MspPostInit(&htim2);

}

static void MX_TIM4_Init(void)
{

  TIM_ClockConfigTypeDef sClockSourceConfig = {0};
  TIM_MasterConfigTypeDef sMasterConfig = {0};
  TIM_OC_InitTypeDef sConfigOC = {0};

  htim4.Instance = TIM4;
  htim4.Init.Prescaler = 239;
  htim4.Init.CounterMode = TIM_COUNTERMODE_UP;
  htim4.Init.Period = 19999;
  htim4.Init.ClockDivision = TIM_CLOCKDIVISION_DIV1;
  htim4.Init.AutoReloadPreload = TIM_AUTORELOAD_PRELOAD_DISABLE;
  if (HAL_TIM_Base_Init(&htim4) != HAL_OK)
  {
    Error_Handler();
  }
  sClockSourceConfig.ClockSource = TIM_CLOCKSOURCE_INTERNAL;
  if (HAL_TIM_ConfigClockSource(&htim4, &sClockSourceConfig) != HAL_OK)
  {
    Error_Handler();
  }
  if (HAL_TIM_PWM_Init(&htim4) != HAL_OK)
  {
    Error_Handler();
  }
  sMasterConfig.MasterOutputTrigger = TIM_TRGO_RESET;
  sMasterConfig.MasterSlaveMode = TIM_MASTERSLAVEMODE_DISABLE;
  if (HAL_TIMEx_MasterConfigSynchronization(&htim4, &sMasterConfig) != HAL_OK)
  {
    Error_Handler();
  }
  sConfigOC.OCMode = TIM_OCMODE_PWM1;
  sConfigOC.Pulse = 1100;
  sConfigOC.OCPolarity = TIM_OCPOLARITY_HIGH;
  sConfigOC.OCFastMode = TIM_OCFAST_DISABLE;
  if (HAL_TIM_PWM_ConfigChannel(&htim4, &sConfigOC, TIM_CHANNEL_1) != HAL_OK)
  {
    Error_Handler();
  }
  HAL_TIM_MspPostInit(&htim4);

}

static void MX_USART1_UART_Init(void)
{

  huart1.Instance = USART1;
  huart1.Init.BaudRate = 115200;
  huart1.Init.WordLength = UART_WORDLENGTH_8B;
  huart1.Init.StopBits = UART_STOPBITS_1;
  huart1.Init.Parity = UART_PARITY_NONE;
  huart1.Init.Mode = UART_MODE_TX_RX;
  huart1.Init.HwFlowCtl = UART_HWCONTROL_NONE;
  huart1.Init.OverSampling = UART_OVERSAMPLING_16;
  huart1.Init.OneBitSampling = UART_ONE_BIT_SAMPLE_DISABLE;
  huart1.Init.ClockPrescaler = UART_PRESCALER_DIV1;
  huart1.AdvancedInit.AdvFeatureInit = UART_ADVFEATURE_NO_INIT;
  if (HAL_UART_Init(&huart1) != HAL_OK)
  {
    Error_Handler();
  }
  if (HAL_UARTEx_SetTxFifoThreshold(&huart1, UART_TXFIFO_THRESHOLD_1_8) != HAL_OK)
  {
    Error_Handler();
  }
  if (HAL_UARTEx_SetRxFifoThreshold(&huart1, UART_RXFIFO_THRESHOLD_1_8) != HAL_OK)
  {
    Error_Handler();
  }
  if (HAL_UARTEx_DisableFifoMode(&huart1) != HAL_OK)
  {
    Error_Handler();
  }

}

static void MX_USART2_UART_Init(void)
{

  huart2.Instance = USART2;
  huart2.Init.BaudRate = 9600;
  huart2.Init.WordLength = UART_WORDLENGTH_8B;
  huart2.Init.StopBits = UART_STOPBITS_1;
  huart2.Init.Parity = UART_PARITY_NONE;
  huart2.Init.Mode = UART_MODE_TX_RX;
  huart2.Init.HwFlowCtl = UART_HWCONTROL_NONE;
  huart2.Init.OverSampling = UART_OVERSAMPLING_16;
  huart2.Init.OneBitSampling = UART_ONE_BIT_SAMPLE_DISABLE;
  huart2.Init.ClockPrescaler = UART_PRESCALER_DIV1;
  huart2.AdvancedInit.AdvFeatureInit = UART_ADVFEATURE_NO_INIT;
  if (HAL_UART_Init(&huart2) != HAL_OK)
  {
    Error_Handler();
  }
  if (HAL_UARTEx_SetTxFifoThreshold(&huart2, UART_TXFIFO_THRESHOLD_1_8) != HAL_OK)
  {
    Error_Handler();
  }
  if (HAL_UARTEx_SetRxFifoThreshold(&huart2, UART_RXFIFO_THRESHOLD_1_8) != HAL_OK)
  {
    Error_Handler();
  }
  if (HAL_UARTEx_DisableFifoMode(&huart2) != HAL_OK)
  {
    Error_Handler();
  }

}

static void MX_BDMA_Init(void)
{

  /* DMA controller clock enable */
  __HAL_RCC_BDMA_CLK_ENABLE();

  /* DMA interrupt init */
  /* BDMA_Channel0_IRQn interrupt configuration */
  HAL_NVIC_SetPriority(BDMA_Channel0_IRQn, 5, 0);
  HAL_NVIC_EnableIRQ(BDMA_Channel0_IRQn);
  /* BDMA_Channel1_IRQn interrupt configuration */
  HAL_NVIC_SetPriority(BDMA_Channel1_IRQn, 5, 0);
  HAL_NVIC_EnableIRQ(BDMA_Channel1_IRQn);

}

static void MX_DMA_Init(void)
{

  /* DMA controller clock enable */
  __HAL_RCC_DMA1_CLK_ENABLE();
  __HAL_RCC_DMA2_CLK_ENABLE();

  /* DMA interrupt init */
  /* DMA1_Stream0_IRQn interrupt configuration */
  HAL_NVIC_SetPriority(DMA1_Stream0_IRQn, 5, 0);
  HAL_NVIC_EnableIRQ(DMA1_Stream0_IRQn);
  /* DMA1_Stream1_IRQn interrupt configuration */
  HAL_NVIC_SetPriority(DMA1_Stream1_IRQn, 5, 0);
  HAL_NVIC_EnableIRQ(DMA1_Stream1_IRQn);
  /* DMA1_Stream2_IRQn interrupt configuration */
  HAL_NVIC_SetPriority(DMA1_Stream2_IRQn, 5, 0);
  HAL_NVIC_EnableIRQ(DMA1_Stream2_IRQn);
  /* DMA1_Stream3_IRQn interrupt configuration */
  HAL_NVIC_SetPriority(DMA1_Stream3_IRQn, 5, 0);
  HAL_NVIC_EnableIRQ(DMA1_Stream3_IRQn);
  /* DMA1_Stream4_IRQn interrupt configuration */
  HAL_NVIC_SetPriority(DMA1_Stream4_IRQn, 5, 0);
  HAL_NVIC_EnableIRQ(DMA1_Stream4_IRQn);
  /* DMA1_Stream5_IRQn interrupt configuration */
  HAL_NVIC_SetPriority(DMA1_Stream5_IRQn, 5, 0);
  HAL_NVIC_EnableIRQ(DMA1_Stream5_IRQn);
  /* DMA1_Stream6_IRQn interrupt configuration */
  HAL_NVIC_SetPriority(DMA1_Stream6_IRQn, 5, 0);
  HAL_NVIC_EnableIRQ(DMA1_Stream6_IRQn);
  /* DMA1_Stream7_IRQn interrupt configuration */
  HAL_NVIC_SetPriority(DMA1_Stream7_IRQn, 5, 0);
  HAL_NVIC_EnableIRQ(DMA1_Stream7_IRQn);
  /* DMA2_Stream0_IRQn interrupt configuration */
  HAL_NVIC_SetPriority(DMA2_Stream0_IRQn, 5, 0);
  HAL_NVIC_EnableIRQ(DMA2_Stream0_IRQn);
  /* DMA2_Stream1_IRQn interrupt configuration */
  HAL_NVIC_SetPriority(DMA2_Stream1_IRQn, 5, 0);
  HAL_NVIC_EnableIRQ(DMA2_Stream1_IRQn);
  /* DMA2_Stream2_IRQn interrupt configuration */
  HAL_NVIC_SetPriority(DMA2_Stream2_IRQn, 5, 0);
  HAL_NVIC_EnableIRQ(DMA2_Stream2_IRQn);
  /* DMA2_Stream3_IRQn interrupt configuration */
  HAL_NVIC_SetPriority(DMA2_Stream3_IRQn, 5, 0);
  HAL_NVIC_EnableIRQ(DMA2_Stream3_IRQn);

}

static void MX_GPIO_Init(void)
{
  GPIO_InitTypeDef GPIO_InitStruct = {0};

  /* GPIO Ports Clock Enable */
  __HAL_RCC_GPIOE_CLK_ENABLE();
  __HAL_RCC_GPIOF_CLK_ENABLE();
  __HAL_RCC_GPIOA_CLK_ENABLE();
  __HAL_RCC_GPIOC_CLK_ENABLE();
  __HAL_RCC_GPIOB_CLK_ENABLE();
  __HAL_RCC_GPIOD_CLK_ENABLE();
  __HAL_RCC_GPIOG_CLK_ENABLE();

  /*Configure GPIO pin Output Level */
  HAL_GPIO_WritePin(GPIOF, RXEN_Pin|TXEN_Pin, GPIO_PIN_RESET);

  /*Configure GPIO pin Output Level */
  HAL_GPIO_WritePin(GPIOF, RADIO_NRST_Pin|RADIO_CS_Pin, GPIO_PIN_SET);

  /*Configure GPIO pin Output Level */
  HAL_GPIO_WritePin(IMU_CS_GPIO_Port, IMU_CS_Pin, GPIO_PIN_SET);

  /*Configure GPIO pin Output Level */
  HAL_GPIO_WritePin(ALT_CS_GPIO_Port, ALT_CS_Pin, GPIO_PIN_SET);

  /*Configure GPIO pin Output Level */
  HAL_GPIO_WritePin(MAG_CS_GPIO_Port, MAG_CS_Pin, GPIO_PIN_SET);

  /*Configure GPIO pin Output Level */
  HAL_GPIO_WritePin(SD_CS_GPIO_Port, SD_CS_Pin, GPIO_PIN_SET);

  /*Configure GPIO pin Output Level */
  HAL_GPIO_WritePin(GPIOG, GPIO_BUZZER_Pin|GPIO_PIN_6|GPIO_PIN_7|GPIO_PIN_8, GPIO_PIN_RESET);

  /*Configure GPIO pin Output Level */
  HAL_GPIO_WritePin(GPS_RESET_N_GPIO_Port, GPS_RESET_N_Pin, GPIO_PIN_SET);

  /*Configure GPIO pin : RADIO_BUSY_Pin */
  GPIO_InitStruct.Pin = RADIO_BUSY_Pin;
  GPIO_InitStruct.Mode = GPIO_MODE_INPUT;
  GPIO_InitStruct.Pull = GPIO_PULLDOWN;
  HAL_GPIO_Init(RADIO_BUSY_GPIO_Port, &GPIO_InitStruct);

  /*Configure GPIO pins : RXEN_Pin TXEN_Pin RADIO_NRST_Pin RADIO_CS_Pin */
  GPIO_InitStruct.Pin = RXEN_Pin|TXEN_Pin|RADIO_NRST_Pin|RADIO_CS_Pin;
  GPIO_InitStruct.Mode = GPIO_MODE_OUTPUT_PP;
  GPIO_InitStruct.Pull = GPIO_NOPULL;
  GPIO_InitStruct.Speed = GPIO_SPEED_FREQ_LOW;
  HAL_GPIO_Init(GPIOF, &GPIO_InitStruct);

  /*Configure GPIO pins : RADIO_DIO1_Pin RADIO_DIO2_Pin */
  GPIO_InitStruct.Pin = RADIO_DIO1_Pin|RADIO_DIO2_Pin;
  GPIO_InitStruct.Mode = GPIO_MODE_IT_RISING;
  GPIO_InitStruct.Pull = GPIO_NOPULL;
  HAL_GPIO_Init(GPIOF, &GPIO_InitStruct);

  /*Configure GPIO pin : IMU_CS_Pin */
  GPIO_InitStruct.Pin = IMU_CS_Pin;
  GPIO_InitStruct.Mode = GPIO_MODE_OUTPUT_PP;
  GPIO_InitStruct.Pull = GPIO_NOPULL;
  GPIO_InitStruct.Speed = GPIO_SPEED_FREQ_LOW;
  HAL_GPIO_Init(IMU_CS_GPIO_Port, &GPIO_InitStruct);

  /*Configure GPIO pin : ALT_CS_Pin */
  GPIO_InitStruct.Pin = ALT_CS_Pin;
  GPIO_InitStruct.Mode = GPIO_MODE_OUTPUT_PP;
  GPIO_InitStruct.Pull = GPIO_NOPULL;
  GPIO_InitStruct.Speed = GPIO_SPEED_FREQ_LOW;
  HAL_GPIO_Init(ALT_CS_GPIO_Port, &GPIO_InitStruct);

  /*Configure GPIO pin : MAG_CS_Pin */
  GPIO_InitStruct.Pin = MAG_CS_Pin;
  GPIO_InitStruct.Mode = GPIO_MODE_OUTPUT_PP;
  GPIO_InitStruct.Pull = GPIO_NOPULL;
  GPIO_InitStruct.Speed = GPIO_SPEED_FREQ_LOW;
  HAL_GPIO_Init(MAG_CS_GPIO_Port, &GPIO_InitStruct);

  /*Configure GPIO pin : MAG_INTERRUPT_Pin */
  GPIO_InitStruct.Pin = MAG_INTERRUPT_Pin;
  GPIO_InitStruct.Mode = GPIO_MODE_IT_RISING;
  GPIO_InitStruct.Pull = GPIO_NOPULL;
  HAL_GPIO_Init(MAG_INTERRUPT_GPIO_Port, &GPIO_InitStruct);

  /*Configure GPIO pin : SD_CS_Pin */
  GPIO_InitStruct.Pin = SD_CS_Pin;
  GPIO_InitStruct.Mode = GPIO_MODE_OUTPUT_PP;
  GPIO_InitStruct.Pull = GPIO_NOPULL;
  GPIO_InitStruct.Speed = GPIO_SPEED_FREQ_LOW;
  HAL_GPIO_Init(SD_CS_GPIO_Port, &GPIO_InitStruct);

  /*Configure GPIO pins : GPIO_BUZZER_Pin PG6 PG7 PG8 */
  GPIO_InitStruct.Pin = GPIO_BUZZER_Pin|GPIO_PIN_6|GPIO_PIN_7|GPIO_PIN_8;
  GPIO_InitStruct.Mode = GPIO_MODE_OUTPUT_PP;
  GPIO_InitStruct.Pull = GPIO_NOPULL;
  GPIO_InitStruct.Speed = GPIO_SPEED_FREQ_LOW;
  HAL_GPIO_Init(GPIOG, &GPIO_InitStruct);

  /*Configure GPIO pin : GPS_RESET_N_Pin */
  GPIO_InitStruct.Pin = GPS_RESET_N_Pin;
  GPIO_InitStruct.Mode = GPIO_MODE_OUTPUT_PP;
  GPIO_InitStruct.Pull = GPIO_NOPULL;
  GPIO_InitStruct.Speed = GPIO_SPEED_FREQ_LOW;
  HAL_GPIO_Init(GPS_RESET_N_GPIO_Port, &GPIO_InitStruct);

  /*Configure GPIO pin : GPS_INTERRUPT_Pin */
  GPIO_InitStruct.Pin = GPS_INTERRUPT_Pin;
  GPIO_InitStruct.Mode = GPIO_MODE_IT_RISING;
  GPIO_InitStruct.Pull = GPIO_NOPULL;
  HAL_GPIO_Init(GPS_INTERRUPT_GPIO_Port, &GPIO_InitStruct);

  /* EXTI interrupt init*/
  HAL_NVIC_SetPriority(RADIO_DIO1_EXTI_IRQn, 5, 0);
  HAL_NVIC_EnableIRQ(RADIO_DIO1_EXTI_IRQn);

  HAL_NVIC_SetPriority(RADIO_DIO2_EXTI_IRQn, 5, 0);
  HAL_NVIC_EnableIRQ(RADIO_DIO2_EXTI_IRQn);

  HAL_NVIC_SetPriority(GPS_INTERRUPT_EXTI_IRQn, 5, 0);
  HAL_NVIC_EnableIRQ(GPS_INTERRUPT_EXTI_IRQn);

}

void StartDefaultTask(void *argument)
{
  for(;;)
  {
    osDelay(1);
  }
}

 /* MPU Configuration */

void MPU_Config(void)
{
  MPU_Region_InitTypeDef MPU_InitStruct = {0};

  /* Disables the MPU */
  HAL_MPU_Disable();

  /** Initializes and configures the Region and the memory to be protected
  */
  MPU_InitStruct.Enable = MPU_REGION_ENABLE;
  MPU_InitStruct.Number = MPU_REGION_NUMBER0;
  MPU_InitStruct.BaseAddress = 0x0;
  MPU_InitStruct.Size = MPU_REGION_SIZE_4GB;
  MPU_InitStruct.SubRegionDisable = 0x87;
  MPU_InitStruct.TypeExtField = MPU_TEX_LEVEL0;
  MPU_InitStruct.AccessPermission = MPU_REGION_NO_ACCESS;
  MPU_InitStruct.DisableExec = MPU_INSTRUCTION_ACCESS_DISABLE;
  MPU_InitStruct.IsShareable = MPU_ACCESS_SHAREABLE;
  MPU_InitStruct.IsCacheable = MPU_ACCESS_NOT_CACHEABLE;
  MPU_InitStruct.IsBufferable = MPU_ACCESS_NOT_BUFFERABLE;

  HAL_MPU_ConfigRegion(&MPU_InitStruct);
  /* Enables the MPU */
  HAL_MPU_Enable(MPU_PRIVILEGED_DEFAULT);

}

void HAL_TIM_PeriodElapsedCallback(TIM_HandleTypeDef *htim)
{
  if (htim->Instance == TIM5)
  {
    HAL_IncTick();
  }
}

void Error_Handler(void)
{
  __disable_irq();
  while (1)
  {
  }
}

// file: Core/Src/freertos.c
/* USER CODE BEGIN Header */
/**
  ******************************************************************************
  * File Name          : freertos.c
  * Description        : Code for freertos applications
  ******************************************************************************
  * @attention
  *
  * Copyright (c) 2026 STMicroelectronics.
  * All rights reserved.
  *
  * This software is licensed under terms that can be found in the LICENSE file
  * in the root directory of this software component.
  * If no LICENSE file comes with this software, it is provided AS-IS.
  *
  ******************************************************************************
  */
/* USER CODE END Header */

#include "FreeRTOS.h"
#include "task.h"
#include "main.h"

/* Hook prototypes */
void configureTimerForRunTimeStats(void);
unsigned long getRunTimeCounterValue(void);

/* USER CODE BEGIN 1 */
/* Functions needed when configGENERATE_RUN_TIME_STATS is on */
__weak void configureTimerForRunTimeStats(void)
{

}

__weak unsigned long getRunTimeCounterValue(void)
{
return 0;
}
/* USER CODE END 1 */
